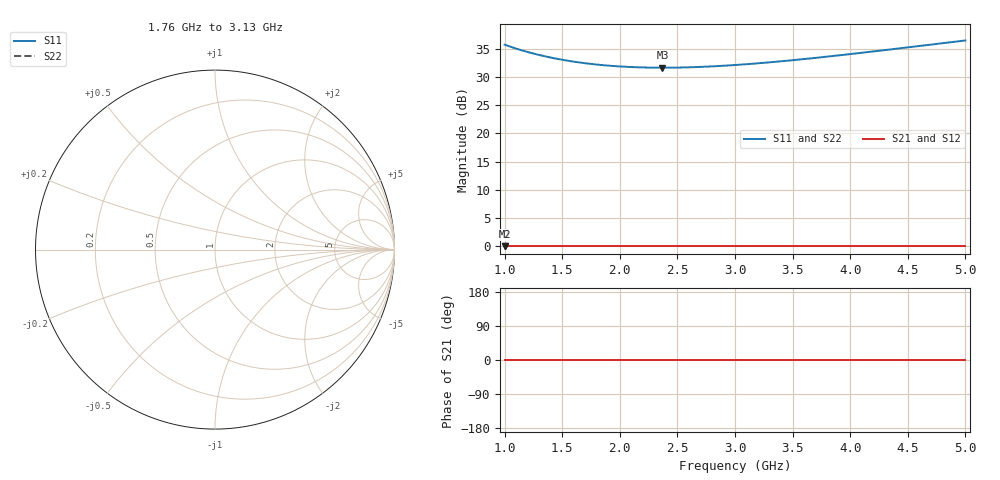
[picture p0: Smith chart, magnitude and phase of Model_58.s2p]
# GHZ S RI R 50
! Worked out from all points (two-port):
!   401 points, 1 GHz to 5 GHz, reference 50 ohm
!   highest |S21| = 0.00 dB at 1 GHz (marker M1); lowest = 0.0 dB at 1 GHz (marker M2)
!   |S21| within 3 dB of the highest: start of sweep to end of sweep
!   lowest |S11| = 31.7 dB at 2.37 GHz (marker M3)
!   |S11| at or under -10 dB: nowhere
!   |S22| runs from 31.7 to 36.5 dB; largest |S21 - S12| = 0
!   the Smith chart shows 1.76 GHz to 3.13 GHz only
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1  61.2 0  1 0  1 0  61.2 0
1.02  60.17 0  1 0  1 0  60.17 0
1.15  54.5 0  1 0  1 0  54.5 0
1.22  52.02 0  1 0  1 0  52.02 0
1.3  49.59 0  1 0  1 0  49.59 0
1.38  47.52 0  1 0  1 0  47.52 0
1.47  45.56 0  1 0  1 0  45.56 0
1.57  43.75 0  1 0  1 0  43.75 0
1.67  42.27 0  1 0  1 0  42.27 0
1.82  40.59 0  1 0  1 0  40.59 0
1.98  39.36 0  1 0  1 0  39.36 0
2.15  38.59 0  1 0  1 0  38.59 0
2.34  38.26 0  1 0  1 0  38.26 0
2.37  38.25 0  1 0  1 0  38.25 0
2.67  38.77 0  1 0  1 0  38.77 0
3  40.39 0  1 0  1 0  40.39 0
3.33  42.95 0  1 0  1 0  42.95 0
3.67  46.41 0  1 0  1 0  46.41 0
4  50.5 0  1 0  1 0  50.5 0
4.34  55.39 0  1 0  1 0  55.39 0
4.64  60.25 0  1 0  1 0  60.25 0
5  66.72 0  1 0  1 0  66.72 0
